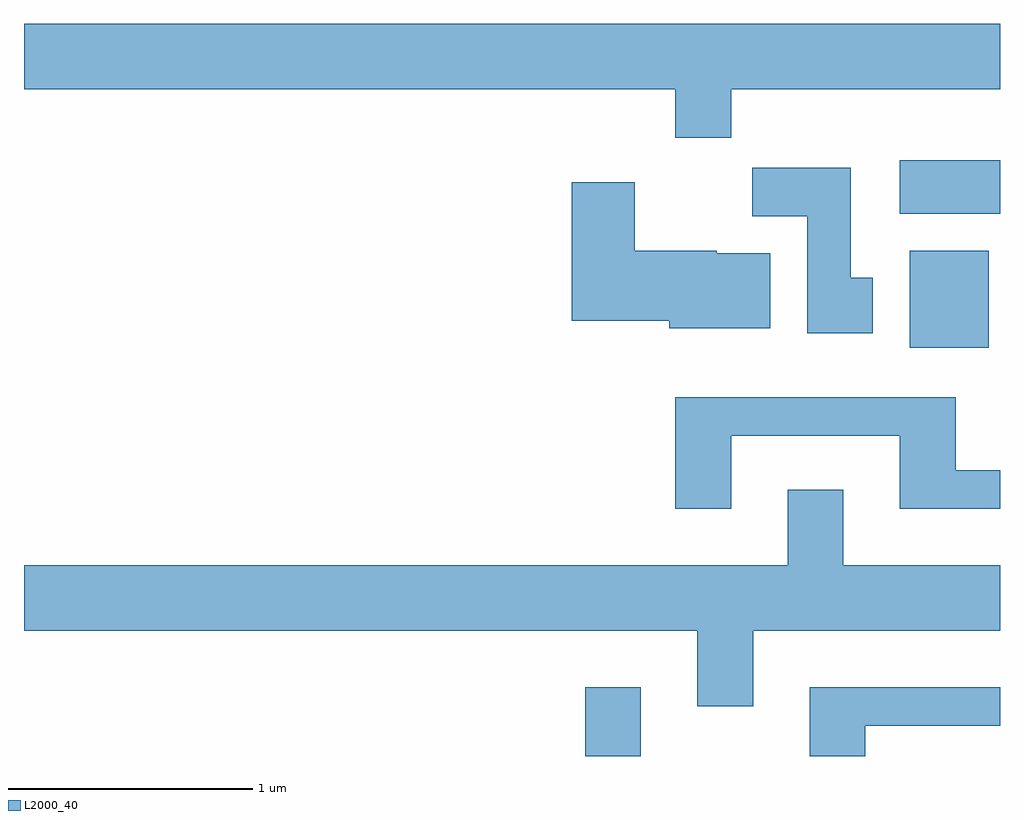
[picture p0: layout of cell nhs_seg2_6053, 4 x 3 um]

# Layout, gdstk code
import gdstk
lib = gdstk.Library(unit=1e-6, precision=1e-09)
def R(c, l, rs):  # rectangles x0, y0, x1, y1
    for r in rs: c.add(gdstk.rectangle(r[:2], r[2:], *l))
def P(c, l, *ps):  # polygons
    for p in ps: c.add(gdstk.Polygon(p, *l))
L2000_40 = (2000, 40)

nhs_seg2_6053 = lib.new_cell('nhs_seg2_6053')
R(nhs_seg2_6053, L2000_40, [(365.911,1047.802,366.139,1048.084), (367.241,1049.476,367.564,1049.874), (367.201,1050.026,367.611,1050.244)])
P(nhs_seg2_6053, L2000_40, [(366.509,1050.536),(367.611,1050.536),(367.611,1050.804),(363.611,1050.804),(363.611,1050.536),(366.281,1050.536),(366.281,1050.336),(366.509,1050.336)],
  [(367.089,1049.764),(366.999,1049.764),(366.999,1050.214),(366.596,1050.214),(366.596,1050.016),(366.821,1050.016),(366.821,1049.536),(367.089,1049.536)],
  [(366.669,1049.864),(366.45,1049.864),(366.45,1049.874),(366.114,1049.874),(366.114,1050.154),(365.856,1050.154),(365.856,1049.586),(366.256,1049.586),(366.256,1049.556),(366.669,1049.556)],
  [(366.509,1049.116),(367.201,1049.116),(367.201,1048.816),(367.611,1048.816),(367.611,1048.974),(367.429,1048.974),(367.429,1049.274),(366.281,1049.274),(366.281,1048.816),(366.509,1048.816)],
  [(366.599,1048.316),(367.611,1048.316),(367.611,1048.584),(366.969,1048.584),(366.969,1048.894),(366.741,1048.894),(366.741,1048.584),(363.611,1048.584),(363.611,1048.316),(366.371,1048.316),(366.371,1048.006),(366.599,1048.006)],
  [(367.059,1047.926),(367.611,1047.926),(367.611,1048.084),(366.831,1048.084),(366.831,1047.802),(367.059,1047.802)])

lib.write_gds('nhs_seg2_6053.gds')
